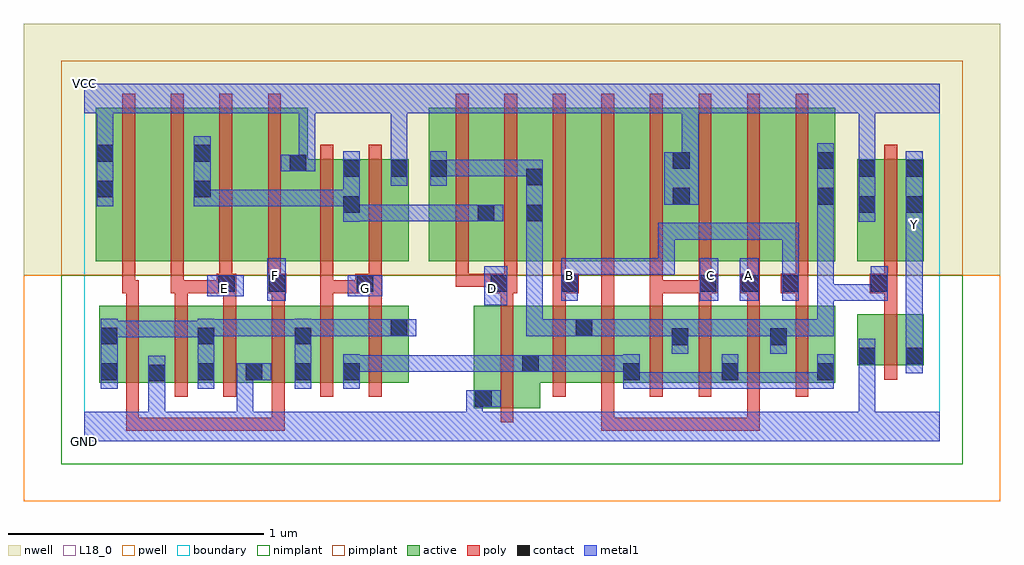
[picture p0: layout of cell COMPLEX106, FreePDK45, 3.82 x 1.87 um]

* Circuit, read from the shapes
.subckt COMPLEX106 A B C D E F G GND VCC Y
M1 GND F n1 VSUBS nfet w=0.3u l=0.05u m=2
M2 n1 E GND VSUBS nfet w=0.3u l=0.05u m=2
M3 n2 G n1 VSUBS nfet w=0.3u l=0.05u m=2
M4 n2 D GND VSUBS nfet w=0.4u l=0.05u
M5 n3 B n2 VSUBS nfet w=0.3u l=0.05u m=2
M6 n2 A n3 VSUBS nfet w=0.3u l=0.05u m=2
M7 n3 C n2 VSUBS nfet w=0.3u l=0.05u m=2
M8 Y n3 GND VSUBS nfet w=0.2u l=0.05u
M9 n4 F VCC n5 pfet w=0.6u l=0.05u
M10 n6 E n4 n5 pfet w=0.6u l=0.05u
M11 n7 E n6 n5 pfet w=0.6u l=0.05u
M12 VCC F n7 n5 pfet w=0.6u l=0.05u
M13 n6 G VCC n5 pfet w=0.4u l=0.05u m=2
M14 n6 D n3 n5 pfet w=0.6u l=0.05u m=2
M15 n8 B n3 n5 pfet w=0.6u l=0.05u
M16 n9 A n8 n5 pfet w=0.6u l=0.05u
M17 VCC C n9 n5 pfet w=0.6u l=0.05u
M18 n10 C VCC n5 pfet w=0.6u l=0.05u
M19 n11 A n10 n5 pfet w=0.6u l=0.05u
M20 n3 B n11 n5 pfet w=0.6u l=0.05u
M21 Y n3 VCC n5 pfet w=0.4u l=0.05u
.ends

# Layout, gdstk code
import gdstk
lib = gdstk.Library(unit=1e-6, precision=1e-09)
def R(c, l, rs):  # rectangles x0, y0, x1, y1
    for r in rs: c.add(gdstk.rectangle(r[:2], r[2:], *l))
def A(c, l, x, y, w, h, nx, ny, dx, dy):  # array of equal rectangles
    R(c, l, [(x+i*dx, y+j*dy, x+i*dx+w, y+j*dy+h) for i in range(nx) for j in range(ny)])
active = (1, 0)
pwell = (2, 0)
nwell = (3, 0)
nimplant = (4, 0)
pimplant = (5, 0)
poly = (9, 0)
contact = (10, 0)
metal1 = (11, 0)
L18_0 = (18, 0)
boundary = (235, 0)

complex106 = lib.new_cell('COMPLEX106')
R(complex106, active, [(1.525,0.13,1.785,0.53), (1.525,0.13,1.6,0.53), (1.71,0.2,1.785,0.405), (0.06,0.23,0.135,0.53), (0.06,0.23,0.322,0.53), (0.247,0.23,0.322,0.437), (0.247,0.23,0.515,0.53), (0.44,0.23,0.702,0.53), (0.44,0.23,0.515,0.517), (0.627,0.23,0.895,0.53), (0.627,0.23,0.702,0.397), (0.82,0.23,0.895,0.53), (0.82,0.23,1.085,0.53), (1.01,0.23,1.27,0.53), (1.01,0.23,1.085,0.392), (1.71,0.23,1.995,0.53), (1.92,0.23,2.18,0.53), (2.105,0.23,2.37,0.53), (2.105,0.23,2.18,0.437), (2.295,0.23,2.565,0.53), (2.49,0.23,2.755,0.53), (2.49,0.23,2.565,0.405), (2.68,0.23,2.94,0.53), (2.865,0.23,2.94,0.53), (1.195,0.295,1.27,0.53), (1.92,0.295,1.995,0.482), (2.295,0.295,2.37,0.517), (2.68,0.295,2.755,0.447), (3.027,0.297,3.102,0.497), (3.027,0.297,3.287,0.497), (3.212,0.297,3.287,0.497), (0.045,0.705,0.27,1.305), (0.045,0.705,0.12,1.305), (0.27,0.705,0.5,1.305), (0.425,0.705,0.5,1.2), (0.425,0.705,0.65,1.305), (0.65,0.705,0.875,1.305), (0.8,0.705,1.085,1.105), (1.01,0.705,1.27,1.105), (1.01,0.705,1.085,1.105), (1.35,0.705,1.425,1.2), (1.35,0.705,1.61,1.305), (1.535,0.705,1.8,1.305), (1.535,0.705,1.61,1.07), (1.725,0.705,1.8,1.2), (1.725,0.705,1.955,1.305), (1.955,0.705,2.145,1.305), (2.145,0.705,2.375,1.305), (2.3,0.705,2.525,1.305), (2.525,0.705,2.715,1.305), (2.715,0.705,2.94,1.305), (2.865,0.705,2.94,1.2), (3.027,0.705,3.287,1.105), (3.027,0.705,3.102,1.105), (3.212,0.705,3.287,1.105), (2.3,0.707,2.375,1.305), (1.195,0.722,1.27,1.105), (0.8,0.747,0.875,1.305)])
R(complex106, pwell, [(-0.235,-0.235,3.585,0.65)])
R(complex106, nwell, [(-0.235,0.65,3.585,1.635)])
R(complex106, nimplant, [(-0.09,-0.09,3.44,0.65)])
R(complex106, pimplant, [(-0.09,0.65,3.44,1.49)])
A(complex106, poly, 0.165, 0.175, 0.05, 0.41, 6, 1, 0.19, 0)
A(complex106, poly, 1.835, 0.175, 0.05, 0.41, 6, 1, 0.19, 0)
A(complex106, poly, 0.165, 0.535, 0.05, 0.095, 6, 1, 0.19, 0)
A(complex106, poly, 1.835, 0.535, 0.05, 0.095, 6, 1, 0.19, 0)
A(complex106, poly, 2.025, 0.58, 0.05, 0.05, 3, 1, 0.19, 0)
A(complex106, poly, 1.455, 0.605, 0.05, 0.095, 3, 1, 0.19, 0)
A(complex106, poly, 2.405, 0.605, 0.05, 0.095, 3, 1, 0.19, 0)
A(complex106, poly, 0.15, 0.65, 0.05, 0.71, 4, 1, 0.19, 0)
A(complex106, poly, 1.455, 0.65, 0.05, 0.71, 8, 1, 0.19, 0)
R(complex106, poly, [(0.165,0.042,0.215,0.225), (0.165,0.042,0.215,0.092), (0.165,0.042,0.215,0.092), (0.165,0.042,0.215,0.092), (0.165,0.042,0.405,0.092), (0.355,0.042,0.405,0.092), (0.355,0.042,0.537,0.092), (0.487,0.042,0.537,0.092), (0.487,0.042,0.537,0.092), (0.487,0.042,0.537,0.092), (0.487,0.042,0.785,0.092), (0.735,0.042,0.785,0.225), (0.735,0.042,0.785,0.092), (0.735,0.042,0.785,0.092), (0.735,0.042,0.785,0.092), (2.025,0.042,2.075,0.225), (2.025,0.042,2.075,0.092), (2.025,0.042,2.207,0.092), (2.157,0.042,2.207,0.092), (2.157,0.042,2.207,0.092), (2.157,0.042,2.207,0.092), (2.157,0.042,2.487,0.092), (2.437,0.042,2.487,0.092), (2.437,0.042,2.487,0.092), (2.437,0.042,2.487,0.092), (2.437,0.042,2.645,0.092), (2.595,0.042,2.645,0.225), (2.595,0.042,2.645,0.092), (2.595,0.042,2.645,0.092), (2.595,0.042,2.645,0.092), (1.63,0.075,1.68,0.585), (3.132,0.242,3.182,0.552), (3.132,0.502,3.182,0.63), (1.63,0.535,1.68,0.63), (0.15,0.58,0.2,0.7), (0.15,0.58,0.215,0.63), (0.34,0.58,0.39,0.7), (0.34,0.58,0.405,0.63), (0.355,0.58,0.405,0.63), (0.355,0.58,0.405,0.63), (0.355,0.58,0.57,0.63), (0.52,0.58,0.595,0.655), (0.717,0.58,0.792,0.655), (0.925,0.58,0.975,0.63), (0.925,0.58,0.975,0.63), (0.925,0.58,0.975,0.63), (0.925,0.58,0.975,0.7), (0.925,0.58,1.112,0.63), (1.062,0.58,1.165,0.655), (1.587,0.58,1.695,0.655), (1.835,0.58,1.937,0.655), (2.025,0.58,2.075,0.7), (2.215,0.58,2.455,0.63), (2.215,0.58,2.265,0.7), (2.405,0.58,2.48,0.655), (2.405,0.58,2.455,0.63), (2.57,0.58,2.645,0.655), (2.727,0.58,2.835,0.655), (3.075,0.58,3.182,0.655), (0.53,0.605,0.58,0.7), (0.72,0.605,0.77,0.7), (1.115,0.605,1.165,0.7), (1.455,0.605,1.505,0.655), (1.455,0.605,1.505,0.655), (1.455,0.605,1.505,0.655), (1.455,0.605,1.637,0.655), (3.132,0.605,3.182,0.7), (0.925,0.65,0.975,1.16), (1.115,0.65,1.165,1.16), (3.132,0.65,3.182,1.16)])
A(complex106, contact, 0.065, 0.38, 0.065, 0.065, 3, 1, 0.38, 0)
R(complex106, contact, [(1.53,0.135,1.595,0.2), (0.252,0.235,0.317,0.3), (0.065,0.24,0.13,0.305), (0.445,0.24,0.51,0.305), (0.632,0.24,0.697,0.305), (0.825,0.24,0.89,0.305), (1.015,0.24,1.08,0.305), (2.11,0.24,2.175,0.305), (2.495,0.24,2.56,0.305), (2.87,0.24,2.935,0.305), (1.715,0.272,1.78,0.337), (3.032,0.302,3.097,0.367), (3.217,0.302,3.282,0.367), (2.3,0.377,2.365,0.442), (2.685,0.377,2.75,0.442), (1.2,0.412,1.265,0.477), (1.925,0.412,1.99,0.477), (0.525,0.585,0.59,0.65), (0.722,0.585,0.787,0.65), (1.067,0.585,1.132,0.65), (1.592,0.585,1.657,0.65), (1.867,0.585,1.932,0.65), (2.41,0.585,2.475,0.65), (2.575,0.585,2.64,0.65), (2.732,0.585,2.797,0.65), (3.08,0.585,3.145,0.65), (1.54,0.862,1.605,0.927), (1.73,0.862,1.795,0.927), (1.015,0.895,1.08,0.96), (3.032,0.895,3.097,0.96), (3.217,0.895,3.282,0.96), (2.305,0.927,2.37,0.992), (2.87,0.927,2.935,0.992), (0.05,0.955,0.115,1.02), (0.43,0.955,0.495,1.02), (1.73,1.002,1.795,1.067), (1.015,1.035,1.08,1.1), (1.2,1.035,1.265,1.1), (1.355,1.035,1.42,1.1), (3.032,1.035,3.097,1.1), (3.217,1.035,3.282,1.1), (0.805,1.057,0.87,1.122), (2.305,1.067,2.37,1.132), (2.87,1.067,2.935,1.132), (0.05,1.095,0.115,1.16), (0.43,1.095,0.495,1.16)])
R(complex106, metal1, [(0,0,3.35,0.115), (0.252,0.05,0.317,0.115), (0.252,0.05,0.317,0.115), (0.252,0.05,0.317,0.115), (0.252,0.05,0.317,0.115), (0.252,0.05,0.317,0.265), (0.597,0.05,0.662,0.115), (0.597,0.05,0.662,0.115), (0.597,0.05,0.662,0.305), (1.495,0.05,1.56,0.115), (1.495,0.05,1.56,0.115), (1.495,0.05,1.56,0.2), (3.032,0.05,3.097,0.115), (3.032,0.05,3.097,0.115), (3.032,0.05,3.097,0.115), (3.032,0.05,3.097,0.115), (3.032,0.05,3.097,0.332), (1.495,0.135,1.63,0.2), (0.252,0.2,0.317,0.335), (0.065,0.205,0.132,0.48), (0.445,0.205,0.51,0.48), (0.825,0.205,0.89,0.48), (1.015,0.205,1.08,0.34), (2.11,0.205,2.175,0.34), (2.11,0.205,2.312,0.27), (2.247,0.205,2.312,0.27), (2.247,0.205,2.312,0.27), (2.247,0.205,2.312,0.27), (2.247,0.205,2.475,0.27), (2.41,0.205,2.475,0.27), (2.41,0.205,2.56,0.27), (2.495,0.205,2.56,0.34), (2.495,0.205,2.612,0.27), (2.547,0.205,2.612,0.27), (2.547,0.205,2.797,0.27), (2.732,0.205,2.797,0.27), (2.732,0.205,2.935,0.27), (2.87,0.205,2.935,0.27), (2.87,0.205,2.935,0.27), (2.87,0.205,2.935,0.34), (0.597,0.24,0.662,0.305), (0.597,0.24,0.662,0.305), (0.597,0.24,0.732,0.305), (3.032,0.267,3.097,0.332), (3.032,0.267,3.097,0.332), (3.032,0.267,3.097,0.402), (3.217,0.267,3.282,0.402), (1.015,0.272,1.08,0.337), (1.015,0.272,1.08,0.337), (1.015,0.272,1.217,0.337), (1.152,0.272,1.217,0.337), (1.152,0.272,1.217,0.337), (1.152,0.272,1.217,0.337), (1.152,0.272,1.355,0.337), (1.29,0.272,1.355,0.337), (1.29,0.272,1.607,0.337), (1.542,0.272,1.607,0.337), (1.542,0.272,1.607,0.337), (1.542,0.272,1.607,0.337), (1.542,0.272,1.745,0.337), (1.68,0.272,1.815,0.337), (1.75,0.272,1.952,0.337), (1.887,0.272,1.952,0.337), (1.887,0.272,1.952,0.337), (1.887,0.272,1.952,0.337), (1.887,0.272,2.175,0.337), (2.11,0.272,2.175,0.337), (2.11,0.272,2.175,0.337), (3.217,0.337,3.282,0.847), (2.3,0.342,2.365,0.477), (2.685,0.342,2.75,0.477), (0.067,0.407,0.132,0.472), (0.067,0.407,0.132,0.472), (0.067,0.407,0.357,0.472), (0.292,0.407,0.357,0.472), (0.292,0.407,0.357,0.472), (0.292,0.407,0.357,0.472), (0.292,0.407,0.51,0.472), (0.445,0.412,0.632,0.477), (0.567,0.412,0.632,0.477), (0.567,0.412,0.647,0.477), (0.582,0.412,0.647,0.477), (0.582,0.412,0.77,0.477), (0.705,0.412,0.77,0.477), (0.705,0.412,0.89,0.477), (0.825,0.412,0.942,0.477), (0.877,0.412,0.942,0.477), (0.877,0.412,1.027,0.477), (0.962,0.412,1.027,0.477), (0.962,0.412,1.08,0.477), (1.015,0.412,1.08,0.477), (1.015,0.412,1.23,0.477), (1.165,0.412,1.3,0.477), (1.73,0.412,1.795,0.477), (1.73,0.412,1.795,0.477), (1.73,0.412,1.795,0.477), (1.73,0.412,1.795,0.477), (1.73,0.412,1.795,0.477), (1.73,0.412,1.795,0.477), (1.73,0.412,1.795,0.477), (1.73,0.412,1.955,0.477), (1.73,0.412,1.795,0.892), (1.89,0.412,2.025,0.477), (1.96,0.412,2.162,0.477), (2.097,0.412,2.162,0.477), (2.097,0.412,2.162,0.477), (2.097,0.412,2.162,0.477), (2.097,0.412,2.337,0.477), (2.272,0.412,2.337,0.477), (2.272,0.412,2.365,0.477), (2.3,0.412,2.475,0.477), (2.41,0.412,2.475,0.477), (2.41,0.412,2.612,0.477), (2.547,0.412,2.612,0.477), (2.547,0.412,2.612,0.477), (2.547,0.412,2.612,0.477), (2.547,0.412,2.75,0.477), (2.685,0.412,2.777,0.477), (2.712,0.412,2.777,0.477), (2.712,0.412,2.935,0.477), (2.87,0.412,2.935,0.477), (2.87,0.412,2.935,0.615), (1.567,0.532,1.657,0.685), (0.717,0.55,0.79,0.717), (1.867,0.55,1.932,0.717), (2.41,0.55,2.482,0.717), (2.567,0.55,2.64,0.717), (2.732,0.55,2.797,0.685), (2.87,0.55,2.935,0.615), (2.87,0.55,3.145,0.615), (2.87,0.55,2.935,0.957), (3.08,0.55,3.145,0.615), (3.08,0.55,3.145,0.615), (3.08,0.55,3.145,0.685), (0.482,0.567,0.625,0.65), (1.032,0.567,1.167,0.65), (2.732,0.62,2.797,0.685), (2.732,0.62,2.797,0.685), (2.732,0.62,2.797,0.855), (1.867,0.652,1.952,0.717), (1.887,0.652,1.952,0.717), (1.887,0.652,2.162,0.717), (2.097,0.652,2.162,0.717), (2.097,0.652,2.162,0.717), (2.097,0.652,2.162,0.717), (2.097,0.652,2.312,0.717), (2.247,0.652,2.312,0.717), (2.247,0.652,2.312,0.717), (2.247,0.652,2.312,0.717), (2.247,0.652,2.312,0.855), (3.217,0.782,3.282,0.925), (2.247,0.79,2.312,0.855), (2.247,0.79,2.475,0.855), (2.41,0.79,2.475,0.855), (2.41,0.79,2.612,0.855), (2.547,0.79,2.612,0.855), (2.547,0.79,2.612,0.855), (2.547,0.79,2.612,0.855), (2.547,0.79,2.797,0.855), (2.732,0.79,2.797,0.855), (1.73,0.827,1.795,1.102), (1.015,0.86,1.08,1.135), (3.032,0.86,3.097,1.135), (3.217,0.86,3.282,0.925), (3.217,0.86,3.282,1.135), (1.015,0.862,1.08,0.927), (1.015,0.862,1.08,0.927), (1.015,0.862,1.217,0.927), (1.152,0.862,1.217,0.927), (1.152,0.862,1.217,0.927), (1.152,0.862,1.217,0.927), (1.152,0.862,1.355,0.927), (1.29,0.862,1.355,0.927), (1.29,0.862,1.57,0.927), (1.505,0.862,1.64,0.927), (2.87,0.892,2.935,1.167), (0.05,0.92,0.115,1.195), (0.43,0.92,0.495,1.195), (0.43,0.92,0.632,0.985), (0.567,0.92,0.632,0.985), (0.567,0.92,0.647,0.985), (0.582,0.92,0.647,0.985), (0.582,0.92,0.785,0.985), (0.72,0.92,0.785,0.985), (0.72,0.92,0.785,0.985), (0.72,0.92,0.785,0.985), (0.72,0.92,0.922,0.985), (0.857,0.92,0.922,0.985), (0.857,0.92,1.08,0.985), (2.27,0.927,2.405,1.132), (1.2,1,1.265,1.135), (1.355,1,1.42,1.135), (1.355,1.037,1.42,1.102), (1.355,1.037,1.42,1.102), (1.355,1.037,1.607,1.102), (1.542,1.037,1.607,1.102), (1.542,1.037,1.607,1.102), (1.542,1.037,1.607,1.102), (1.542,1.037,1.795,1.102), (0.77,1.057,0.905,1.122), (0.84,1.057,0.905,1.35), (2.34,1.067,2.405,1.35), (1.2,1.07,1.265,1.35), (3.032,1.07,3.097,1.35), (0.05,1.13,0.115,1.35), (0,1.285,3.35,1.4), (1.2,1.285,1.265,1.35), (1.2,1.285,1.265,1.35), (3.032,1.285,3.097,1.35), (3.032,1.285,3.097,1.35)])
R(complex106, L18_0, [(0,0,3.35,0.115), (0.252,0.05,0.317,0.115), (0.252,0.05,0.317,0.115), (0.252,0.05,0.317,0.115), (0.252,0.05,0.317,0.115), (0.252,0.05,0.317,0.265), (0.597,0.05,0.662,0.115), (0.597,0.05,0.662,0.115), (0.597,0.05,0.662,0.305), (1.495,0.05,1.56,0.115), (1.495,0.05,1.56,0.115), (1.495,0.05,1.56,0.2), (3.032,0.05,3.097,0.115), (3.032,0.05,3.097,0.115), (3.032,0.05,3.097,0.115), (3.032,0.05,3.097,0.115), (3.032,0.05,3.097,0.332), (1.495,0.135,1.63,0.2), (0.252,0.2,0.317,0.335), (0.597,0.24,0.662,0.305), (0.597,0.24,0.662,0.305), (0.597,0.24,0.732,0.305), (3.032,0.267,3.097,0.332), (3.032,0.267,3.097,0.332), (3.032,0.267,3.097,0.402), (3.217,0.267,3.282,0.402), (3.217,0.337,3.282,0.847), (1.567,0.532,1.657,0.685), (0.717,0.55,0.79,0.717), (1.867,0.55,1.932,0.717), (2.41,0.55,2.482,0.717), (2.567,0.55,2.64,0.717), (2.732,0.55,2.797,0.685), (0.482,0.567,0.625,0.65), (0.517,0.567,0.582,0.632), (1.032,0.567,1.167,0.65), (1.067,0.567,1.132,0.632), (1.567,0.567,1.632,0.632), (0.717,0.617,0.782,0.682), (1.867,0.617,1.932,0.682), (2.417,0.617,2.482,0.682), (2.567,0.617,2.632,0.682), (2.732,0.62,2.797,0.685), (2.732,0.62,2.797,0.685), (2.732,0.62,2.797,0.855), (1.867,0.652,1.952,0.717), (1.887,0.652,1.952,0.717), (1.887,0.652,2.162,0.717), (2.097,0.652,2.162,0.717), (2.097,0.652,2.162,0.717), (2.097,0.652,2.162,0.717), (2.097,0.652,2.312,0.717), (2.247,0.652,2.312,0.717), (2.247,0.652,2.312,0.717), (2.247,0.652,2.312,0.717), (2.247,0.652,2.312,0.855), (3.217,0.782,3.282,0.925), (2.247,0.79,2.312,0.855), (2.247,0.79,2.475,0.855), (2.41,0.79,2.475,0.855), (2.41,0.79,2.612,0.855), (2.547,0.79,2.612,0.855), (2.547,0.79,2.612,0.855), (2.547,0.79,2.612,0.855), (2.547,0.79,2.797,0.855), (2.732,0.79,2.797,0.855), (3.217,0.817,3.282,0.882), (3.032,0.86,3.097,1.135), (3.217,0.86,3.282,1.135), (3.217,0.86,3.282,0.925), (0.05,0.92,0.115,1.195), (2.27,0.927,2.405,1.132), (1.2,1,1.265,1.135), (0.77,1.057,0.905,1.122), (0.84,1.057,0.905,1.35), (2.34,1.067,2.405,1.35), (1.2,1.07,1.265,1.35), (3.032,1.07,3.097,1.35), (0.05,1.13,0.115,1.35), (0,1.285,3.35,1.4), (1.2,1.285,1.265,1.35), (1.2,1.285,1.265,1.35), (3.032,1.285,3.097,1.35), (3.032,1.285,3.097,1.35)])
R(complex106, boundary, [(0,0,3.35,1.4)])
complex106.add(gdstk.Label('A', (2.6,0.65), layer=11, texttype=0))
complex106.add(gdstk.Label('B', (1.9,0.65), layer=11, texttype=0))
complex106.add(gdstk.Label('C', (2.45,0.65), layer=11, texttype=0))
complex106.add(gdstk.Label('D', (1.6,0.6), layer=11, texttype=0))
complex106.add(gdstk.Label('E', (0.55,0.6), layer=11, texttype=0))
complex106.add(gdstk.Label('F', (0.75,0.65), layer=11, texttype=0))
complex106.add(gdstk.Label('G', (1.1,0.6), layer=11, texttype=0))
complex106.add(gdstk.Label('Y', (3.25,0.85), layer=11, texttype=0))
complex106.add(gdstk.Label('VCC', (0,1.4), layer=11, texttype=0))
complex106.add(gdstk.Label('GND', (0,0), layer=11, texttype=0))

lib.write_gds('COMPLEX106.gds')
